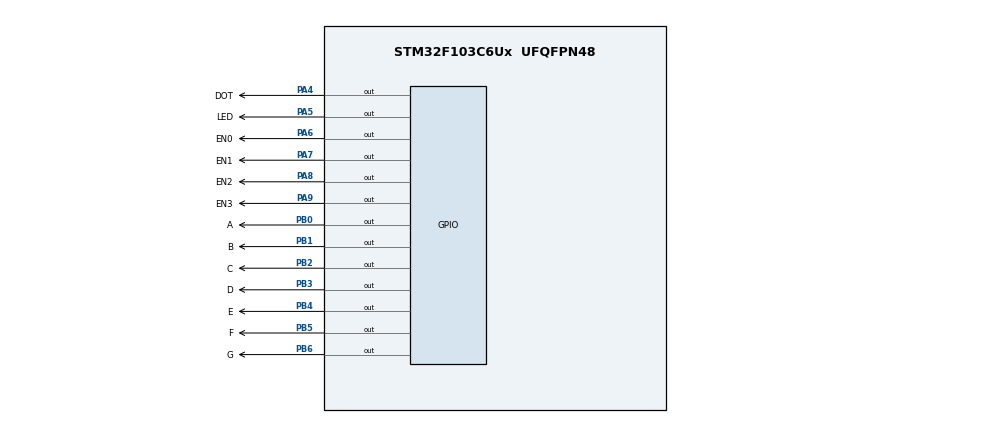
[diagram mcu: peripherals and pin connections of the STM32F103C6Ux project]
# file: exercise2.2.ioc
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Mcu.Family=STM32F1
Mcu.Name=STM32F103C6Ux
Mcu.Package=UFQFPN48
NVIC.PriorityGroup=NVIC_PRIORITYGROUP_4
NVIC.TIM2_IRQn=true\:0\:0\:false\:false\:true\:true\:true
PA4.GPIO_Label=DOT
PA4.Signal=GPIO_Output
PA5.GPIO_Label=LED
PA5.Signal=GPIO_Output
PA6.GPIO_Label=EN0
PA6.Signal=GPIO_Output
PA7.GPIO_Label=EN1
PA7.Signal=GPIO_Output
PA8.GPIO_Label=EN2
PA8.Signal=GPIO_Output
PA9.GPIO_Label=EN3
PA9.Signal=GPIO_Output
PB0.GPIO_Label=A
PB0.Signal=GPIO_Output
PB1.GPIO_Label=B
PB1.Signal=GPIO_Output
PB2.GPIO_Label=C
PB2.Signal=GPIO_Output
PB3.GPIO_Label=D
PB3.Signal=GPIO_Output
PB4.GPIO_Label=E
PB4.Signal=GPIO_Output
PB5.GPIO_Label=F
PB5.Signal=GPIO_Output
PB6.GPIO_Label=G
PB6.Signal=GPIO_Output
ProjectManager.HeapSize=0x200
ProjectManager.StackSize=0x400
ProjectManager.TargetToolchain=STM32CubeIDE
RCC.APB1Freq_Value=8000000
RCC.APB2Freq_Value=8000000
TIM2.Period=9
TIM2.Prescaler=7999
VP_SYS_VS_ND.Mode=No_Debug
VP_TIM2_VS_ClockSourceINT.Mode=Internal
board=custom

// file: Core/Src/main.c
/* USER CODE BEGIN Header */
/**
  ******************************************************************************
  * @file           : main.c
  * @brief          : Main program body
  ******************************************************************************
  * @attention
  *
  * <h2><center>&copy; Copyright (c) 2025 STMicroelectronics.
  * All rights reserved.</center></h2>
  *
  * This software component is licensed by ST under BSD 3-Clause license,
  * the "License"; You may not use this file except in compliance with the
  * License. You may obtain a copy of the License at:
  *                        opensource.org/licenses/BSD-3-Clause
  *
  ******************************************************************************
  */
/* USER CODE END Header */
#include "main.h"

TIM_HandleTypeDef htim2;

/* USER CODE BEGIN PV */
void display7SEG(int num);
/* USER CODE END PV */

void SystemClock_Config(void);
static void MX_GPIO_Init(void);
static void MX_TIM2_Init(void);

/* USER CODE BEGIN 0 */
const uint8_t seg_table[10]={
			0b1000000,
			0b1111001,
			0b0100100,
			0b0110000,
			0b0011001,
			0b0010010,
			0b0000010,
			0b1111000,
			0b0000000,
			0b0010000
};
uint16_t seg_pins[7] ={A_Pin, B_Pin, C_Pin, D_Pin, E_Pin, F_Pin, G_Pin};
/* USER CODE END 0 */

int main(void)
{

  /* MCU Configuration--------------------------------------------------------*/

  /* Reset of all peripherals, Initializes the Flash interface and the Systick. */
  HAL_Init();

  /* Configure the system clock */
  SystemClock_Config();

  /* Initialize all configured peripherals */
  MX_GPIO_Init();
  MX_TIM2_Init();
  /* USER CODE BEGIN 2 */
  HAL_TIM_Base_Start_IT(&htim2);
  /* USER CODE END 2 */

  /* Infinite loop */
  while (1)
  {

  }
}

void SystemClock_Config(void)
{
  RCC_OscInitTypeDef RCC_OscInitStruct = {0};
  RCC_ClkInitTypeDef RCC_ClkInitStruct = {0};

  /** Initializes the RCC Oscillators according to the specified parameters
  * in the RCC_OscInitTypeDef structure.
  */
  RCC_OscInitStruct.OscillatorType = RCC_OSCILLATORTYPE_HSI;
  RCC_OscInitStruct.HSIState = RCC_HSI_ON;
  RCC_OscInitStruct.HSICalibrationValue = RCC_HSICALIBRATION_DEFAULT;
  RCC_OscInitStruct.PLL.PLLState = RCC_PLL_NONE;
  if (HAL_RCC_OscConfig(&RCC_OscInitStruct) != HAL_OK)
  {
    Error_Handler();
  }
  /** Initializes the CPU, AHB and APB buses clocks
  */
  RCC_ClkInitStruct.ClockType = RCC_CLOCKTYPE_HCLK|RCC_CLOCKTYPE_SYSCLK
                              |RCC_CLOCKTYPE_PCLK1|RCC_CLOCKTYPE_PCLK2;
  RCC_ClkInitStruct.SYSCLKSource = RCC_SYSCLKSOURCE_HSI;
  RCC_ClkInitStruct.AHBCLKDivider = RCC_SYSCLK_DIV1;
  RCC_ClkInitStruct.APB1CLKDivider = RCC_HCLK_DIV1;
  RCC_ClkInitStruct.APB2CLKDivider = RCC_HCLK_DIV1;

  if (HAL_RCC_ClockConfig(&RCC_ClkInitStruct, FLASH_LATENCY_0) != HAL_OK)
  {
    Error_Handler();
  }
}

static void MX_TIM2_Init(void)
{

  TIM_ClockConfigTypeDef sClockSourceConfig = {0};
  TIM_MasterConfigTypeDef sMasterConfig = {0};

  htim2.Instance = TIM2;
  htim2.Init.Prescaler = 7999;
  htim2.Init.CounterMode = TIM_COUNTERMODE_UP;
  htim2.Init.Period = 9;
  htim2.Init.ClockDivision = TIM_CLOCKDIVISION_DIV1;
  htim2.Init.AutoReloadPreload = TIM_AUTORELOAD_PRELOAD_DISABLE;
  if (HAL_TIM_Base_Init(&htim2) != HAL_OK)
  {
    Error_Handler();
  }
  sClockSourceConfig.ClockSource = TIM_CLOCKSOURCE_INTERNAL;
  if (HAL_TIM_ConfigClockSource(&htim2, &sClockSourceConfig) != HAL_OK)
  {
    Error_Handler();
  }
  sMasterConfig.MasterOutputTrigger = TIM_TRGO_RESET;
  sMasterConfig.MasterSlaveMode = TIM_MASTERSLAVEMODE_DISABLE;
  if (HAL_TIMEx_MasterConfigSynchronization(&htim2, &sMasterConfig) != HAL_OK)
  {
    Error_Handler();
  }

}

static void MX_GPIO_Init(void)
{
  GPIO_InitTypeDef GPIO_InitStruct = {0};

  /* GPIO Ports Clock Enable */
  __HAL_RCC_GPIOA_CLK_ENABLE();
  __HAL_RCC_GPIOB_CLK_ENABLE();

  /*Configure GPIO pin Output Level */
  HAL_GPIO_WritePin(GPIOA, DOT_Pin|LED_Pin|EN0_Pin|EN1_Pin
                          |EN2_Pin|EN3_Pin, GPIO_PIN_RESET);

  /*Configure GPIO pin Output Level */
  HAL_GPIO_WritePin(GPIOB, A_Pin|B_Pin|C_Pin|D_Pin
                          |E_Pin|F_Pin|G_Pin, GPIO_PIN_RESET);

  /*Configure GPIO pins : DOT_Pin LED_Pin EN0_Pin EN1_Pin
                           EN2_Pin EN3_Pin */
  GPIO_InitStruct.Pin = DOT_Pin|LED_Pin|EN0_Pin|EN1_Pin
                          |EN2_Pin|EN3_Pin;
  GPIO_InitStruct.Mode = GPIO_MODE_OUTPUT_PP;
  GPIO_InitStruct.Pull = GPIO_NOPULL;
  GPIO_InitStruct.Speed = GPIO_SPEED_FREQ_LOW;
  HAL_GPIO_Init(GPIOA, &GPIO_InitStruct);

  /*Configure GPIO pins : A_Pin B_Pin C_Pin D_Pin
                           E_Pin F_Pin G_Pin */
  GPIO_InitStruct.Pin = A_Pin|B_Pin|C_Pin|D_Pin
                          |E_Pin|F_Pin|G_Pin;
  GPIO_InitStruct.Mode = GPIO_MODE_OUTPUT_PP;
  GPIO_InitStruct.Pull = GPIO_NOPULL;
  GPIO_InitStruct.Speed = GPIO_SPEED_FREQ_LOW;
  HAL_GPIO_Init(GPIOB, &GPIO_InitStruct);

}

/* USER CODE BEGIN 4 */
void display7SEG(int num){
	uint8_t pattern= seg_table[num];
		for(int i=0; i< 7; i++){
			if( pattern & (1<<i) )
				HAL_GPIO_WritePin(GPIOB, seg_pins[i], SET);
			else
				HAL_GPIO_WritePin(GPIOB, seg_pins[i], RESET);
		}
}
int counter = 0;
int led_index = 0;
int led_buffer[4] = {1, 2, 3, 0};

void HAL_TIM_PeriodElapsedCallback(TIM_HandleTypeDef* htim){
	 if (htim->Instance == TIM2)
	    {
	        counter++;
	        if (counter % 50 == 0) {           // 50 * 10ms = 500ms
	            HAL_GPIO_TogglePin(GPIOA, LED_Pin);
	        }

	        if (counter % 100 == 0) {          // 100 * 10ms = 1s
	            HAL_GPIO_TogglePin(GPIOA, DOT_Pin);
	        }

	        if (counter % 50 == 0) {           // chỉ đổi digit mỗi 500ms
	            HAL_GPIO_WritePin(GPIOA, EN0_Pin|EN1_Pin|EN2_Pin|EN3_Pin, GPIO_PIN_SET);
	            display7SEG(led_buffer[led_index]);
	            switch (led_index) {
	                case 0:
	                    HAL_GPIO_WritePin(GPIOA, EN0_Pin, GPIO_PIN_RESET);
	                    break;
	                case 1:
	                    HAL_GPIO_WritePin(GPIOA, EN1_Pin, GPIO_PIN_RESET);
	                    break;
	                case 2:
	                    HAL_GPIO_WritePin(GPIOA, EN2_Pin, GPIO_PIN_RESET);
	                    break;
	                case 3:
	                    HAL_GPIO_WritePin(GPIOA, EN3_Pin, GPIO_PIN_RESET);
	                    break;
	            }
	            led_index++;
	            if (led_index > 3) led_index = 0;
	        }
	        if (counter >= 1000) counter = 0; //reset after 10s
	    }
}

/* USER CODE END 4 */

void Error_Handler(void)
{
  __disable_irq();
  while (1)
  {
  }
}

/************************ (C) COPYRIGHT STMicroelectronics *****END OF FILE****/
